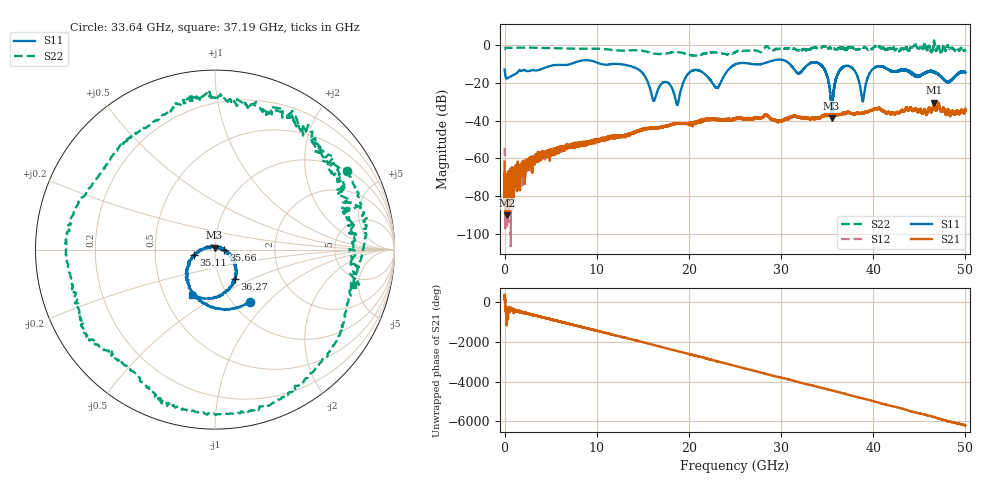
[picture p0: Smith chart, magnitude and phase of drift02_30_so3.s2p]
!Created with skrf (http://scikit-rf.org).
# Hz S RI R 50.0
!freq ReS11 ImS11 ReS21 ImS21 ReS12 ImS12 ReS22 ImS22
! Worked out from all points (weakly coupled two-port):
!   10001 points, 300 kHz to 50 GHz, reference 50 ohm
!   highest |S21| = -30.39 dB at 46.61 GHz (marker M1); lowest = -90.0 dB at 250.3 MHz (marker M2)
!   lowest |S11| = -38.7 dB at 35.48 GHz (marker M3), VSWR 1.02, Z = 49.8 + j1.13 ohm
!   |S11| at or under -10 dB: start of sweep to 7.176 GHz; 12.34 GHz to 25.15 GHz (12.82 GHz wide, 68.4 % of centre); 34.19 GHz to end of sweep (the widest 3 of 18)
!   |S22| runs from -5.7 to 2.4 dB; largest |S21 - S12| = 0.0032
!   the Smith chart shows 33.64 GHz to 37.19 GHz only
!   S11 on the Smith chart (normalised r, x): 33.64 GHz: 1.19, -0.79; 35.11 GHz: 0.79, -0.05; 35.66 GHz: 1.11, -0.01; 36.27 GHz: 1.18, -0.40; 37.19 GHz: 0.69, -0.37
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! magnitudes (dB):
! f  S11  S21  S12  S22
! 300 kHz  -12.9  -61.7  -54.3  -2.1
! 250.3 MHz  -17.6  -90.0  -72.1  -1.4
! 3.49 GHz  -13.5  -59.2  -58.8  -1.5
! 8.335 GHz  -8.2  -53.0  -52.4  -1.9
! 14.01 GHz  -11.7  -46.9  -46.3  -2.8
! 16.67 GHz  -23.3  -43.8  -43.9  -4.7
! 18.74 GHz  -31.6  -41.6  -41.4  -3.7
! 20.23 GHz  -13.9  -41.3  -41.0  -5.5
! 23.04 GHz  -22.7  -39.2  -39.2  -4.1
! 25 GHz  -10.3  -39.2  -39.2  -3.9
! 33.34 GHz  -9.3  -38.8  -38.9  -1.5
! 33.64 GHz  -9.2  -38.7  -38.7  -1.3
! 35.11 GHz  -18.2  -37.1  -37.4  -1.7
! 35.48 GHz  -38.7  -36.7  -36.7  -1.7
! 35.66 GHz  -25.8  -36.5  -36.7  -1.7
! 36.27 GHz  -14.1  -36.7  -36.7  -1.5
! 37.19 GHz  -11.0  -35.5  -35.8  -2.0
! 38.86 GHz  -29.9  -36.2  -36.2  -1.3
! 39.94 GHz  -12.8  -34.4  -34.6  -2.0
! 41.67 GHz  -13.0  -35.7  -35.7  -1.8
! 46.61 GHz  -14.1  -30.4  -30.0  2.2
! 50 GHz  -14.5  -33.7  -34.4  -2.6
